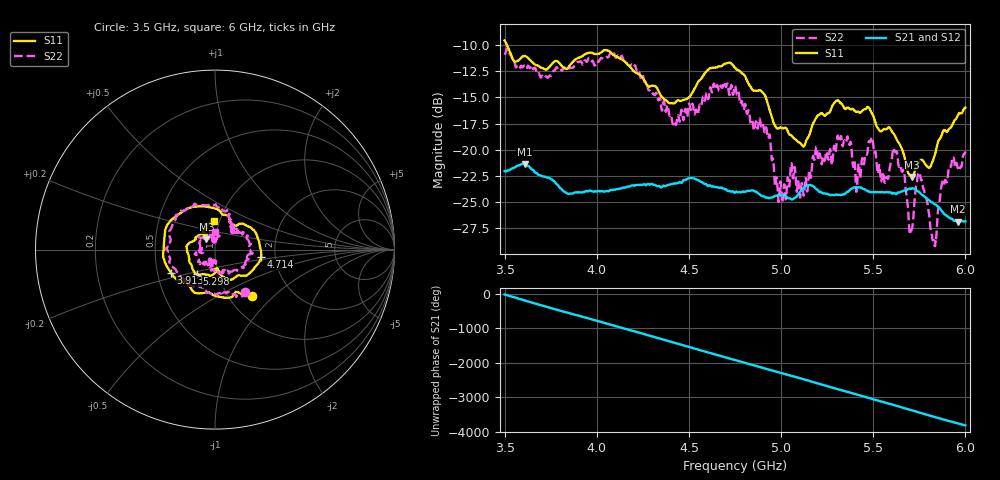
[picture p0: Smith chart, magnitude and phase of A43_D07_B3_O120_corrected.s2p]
! Created with skrf 1.9.0 (http://scikit-rf.org).
# Hz S RI R 50.0
!freq ReS11 ImS11 ReS21 ImS21 ReS12 ImS12 ReS22 ImS22
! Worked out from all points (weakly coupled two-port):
!   1601 points, 3.5 GHz to 6 GHz, reference 50 ohm
!   highest |S21| = -21.36 dB at 3.609 GHz (marker M1); lowest = -26.9 dB at 5.961 GHz (marker M2)
!   lowest |S11| = -22.6 dB at 5.711 GHz (marker M3), VSWR 1.16, Z = 45.1 + j5.13 ohm
!   |S11| at or under -10 dB: 3.513 GHz to end of sweep
!   |S22| runs from -29.2 to -10.4 dB; largest |S21 - S12| = 0.00092
!   S11 on the Smith chart (normalised r, x): 3.5 GHz: 1.27, -0.75; 3.913 GHz: 0.59, -0.17; 4.714 GHz: 1.68, -0.15; 5.298 GHz: 0.79, -0.22; 6 GHz: 0.94, +0.30
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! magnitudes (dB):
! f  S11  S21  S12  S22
! 3.5 GHz  -9.6  -22.0  -22.0  -10.8
! 3.609 GHz  -11.1  -21.4  -21.4  -12.0
! 3.913 GHz  -11.2  -24.1  -24.0  -11.6
! 3.917 GHz  -11.1  -24.1  -24.1  -11.6
! 4.142 GHz  -11.4  -23.6  -23.6  -11.3
! 4.334 GHz  -14.4  -23.5  -23.4  -15.3
! 4.422 GHz  -15.6  -23.2  -23.2  -17.3
! 4.714 GHz  -11.7  -23.9  -24.0  -14.2
! 4.75 GHz  -12.2  -24.1  -24.0  -13.9
! 4.928 GHz  -15.7  -24.6  -24.6  -18.9
! 4.997 GHz  -17.9  -24.3  -24.3  -23.0
! 5.167 GHz  -17.8  -23.4  -23.4  -21.6
! 5.298 GHz  -15.3  -24.3  -24.3  -19.9
! 5.487 GHz  -16.4  -24.1  -24.0  -19.1
! 5.584 GHz  -17.9  -24.1  -24.0  -22.4
! 5.62 GHz  -18.8  -24.2  -24.2  -20.3
! 5.711 GHz  -22.6  -23.7  -23.6  -27.5
! 5.753 GHz  -21.1  -24.1  -24.1  -22.3
! 5.831 GHz  -20.7  -25.2  -25.1  -28.9
! 5.878 GHz  -18.3  -26.0  -25.9  -23.2
! 5.961 GHz  -16.6  -26.9  -26.8  -21.8
! 6 GHz  -16.0  -26.8  -26.8  -20.2
